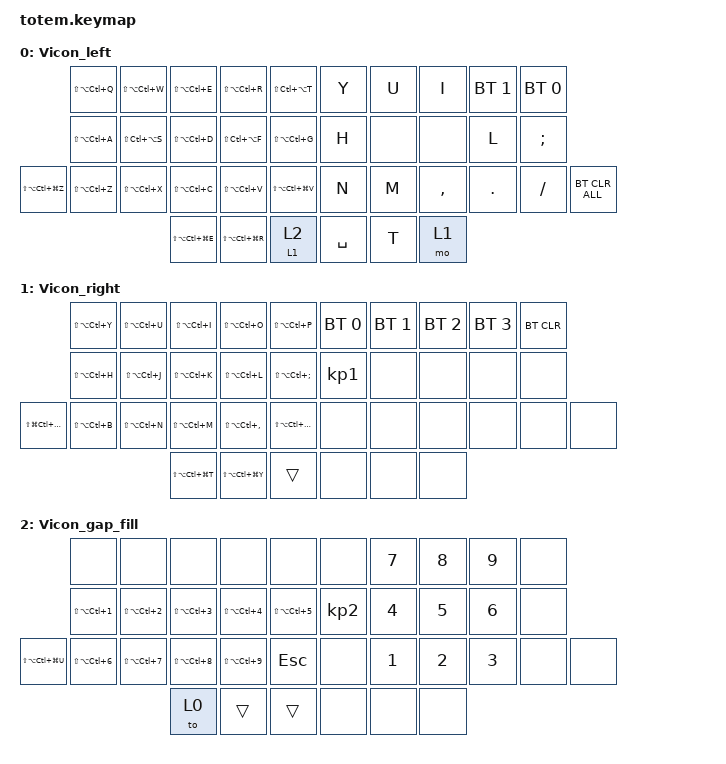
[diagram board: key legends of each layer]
//
//                                                        ▀▀▀▀▀     ▀▀▀▀▀          ▀▀█▀▀
//                                                        ▄▀▀▀▄  ▄  ▄▀▀▀▄  ▄  ▄▀▀▀▄  █  ▄▀▀▀▄
//                                                        █   █  █  █   █  █  █   █  █  █   █
//                                                         ▀▀▀   █   ▀▀▀   █   ▀▀▀   ▀   ▀▀▀
//                                                               █      ▄▄▄█▄▄▄    █   █  
//                                                               ▀      █  █  █     █▄█
//                                                             ▀▀▀▀▀    █  █  █      ▀
//                                                                      ▀  ▀  ▀
//
// ▄▄▄▄▄▄▄▄▄▄▄▄▄▄▄▄▄▄▄▄▄▄▄▄▄▄▄▄▄▄▄▄▄▄▄▄▄▄▄▄▄▄▄▄▄▄▄▄▄▄▄▄▄▄▄▄▄▄▄▄▄▄▄▄▄▄▄▄▄▄▄▄▄▄▄▄▄▄▄▄▄▄▄▄▄▄▄▄▄▄▄▄▄▄▄▄▄▄▄▄▄▄▄▄▄▄▄▄▄▄▄▄▄▄▄▄▄▄▄▄▄▄▄▄▄▄▄▄▄▄▄▄▄▄▄▄▄▄▄▄▄▄▄▄▄▄▄▄▄

#include "zmk-helpers/helper.h"

#define HM_TAPPING_TERM 280
#define HM_TAPPING_TERM_FAST 175
#define HM_PRIOR_IDLE 150
#define COMBO_TERM_FAST 35
#define COMBO_TERM_SLOW 40
#define COMBO_PRIOR_IDLE 100
#define BASE 0
#define NUMS 1
#define DANGER 2

/* use helper macros to define left and right hand keys */

#include "zmk-helpers/key-labels/totem.h"                                   // key-position labels
#include <behaviors.dtsi>
#include <dt-bindings/zmk/bt.h>
#include <dt-bindings/zmk/keys.h>

#define KEYS_L LT0 LT1 LT2 LT3 LT4 LM0 LM1 LM2 LM3 LM4 LB0 LB1 LB2 LB3 LB4  // left-hand keys
#define KEYS_R RT0 RT1 RT2 RT3 RT4 RM0 RM1 RM2 RM3 RM4 RB0 RB1 RB2 RB3 RB4  // right-hand keys
#define KEYS_T LH2 LH1 LH0 RH0 RH1 RH2                                      // thumb keys

/ {
    behaviors {
        // Positional Homerow mods
        // Homerow mods that prevent accidental activations when rolling keys,
        // such as when typing `st` or `ne` on colemak-dh layouts or `as` on
        // qwerty.
        //
        // Works by only allowing a mod to activate within tapping-term if
        // it's on the opposite side of the keyboard or on the same side thumb
        // keys.
        // Further optimization using urob's timerless homerow mods method:
        // https://github.com/urob/zmk-config#timeless-homerow-mods

        label_fill_toggle: label_fill_toggle {
            compatible = "zmk,behavior-tap-dance";
            label = "LABEL_FILL_TOGGLE";
            #binding-cells = <0>;
            bindings = <&kp TAB>, <&kp LEFT_SHIFT>;
        };

        capts_ctrl: capts_ctrl {
            compatible = "zmk,behavior-tap-dance";
            label = "CAPTS_CTRL";
            #binding-cells = <0>;
            bindings = <&kp CAPSLOCK>, <&kp LCTRL>;
        };

        layer_1_or_2: layer_1_or_2 {
            compatible = "zmk,behavior-hold-tap";
            label = "LAYER_1_OR_2";
            bindings = <&mo>, <&tog>;

            #binding-cells = <2>;
            tapping-term-ms = <100>;
        };
    };

    combos {
        compatible = "zmk,combos";

        escape {
            timeout-ms = <COMBO_TERM_FAST>;
            require-prior-idle-ms = <COMBO_PRIOR_IDLE>;
            bindings = <&kp ESCAPE>;
            key-positions = <27 28>;
        };

        tab {
            timeout-ms = <COMBO_TERM_FAST>;
            require-prior-idle-ms = <COMBO_PRIOR_IDLE>;
            bindings = <&kp TAB>;
            key-positions = <28 29>;
        };

        grave {
            timeout-ms = <COMBO_TERM_FAST>;
            require-prior-idle-ms = <COMBO_PRIOR_IDLE>;
            bindings = <&kp GRAVE>;
            key-positions = <29 30>;
        };

        escapeleft {
            timeout-ms = <COMBO_TERM_FAST>;
            require-prior-idle-ms = <COMBO_PRIOR_IDLE>;
            bindings = <&kp ESCAPE>;
            key-positions = <1 0>;
        };

        undo {
            timeout-ms = <COMBO_TERM_FAST>;
            require-prior-idle-ms = <COMBO_PRIOR_IDLE>;
            bindings = <&kp LG(Z)>;
            key-positions = <21 22>;
        };

        quote {
            timeout-ms = <COMBO_TERM_FAST>;
            require-prior-idle-ms = <COMBO_PRIOR_IDLE>;
            bindings = <&kp SINGLE_QUOTE>;
            key-positions = <19 18>;
        };

        cut {
            timeout-ms = <COMBO_TERM_FAST>;
            require-prior-idle-ms = <COMBO_PRIOR_IDLE>;
            bindings = <&kp LG(X)>;
            key-positions = <22 23>;
        };

        copy {
            timeout-ms = <COMBO_TERM_FAST>;
            require-prior-idle-ms = <COMBO_PRIOR_IDLE>;
            bindings = <&kp LG(C)>;
            key-positions = <23 24>;
        };

        paste {
            timeout-ms = <COMBO_TERM_FAST>;
            require-prior-idle-ms = <COMBO_PRIOR_IDLE>;
            bindings = <&kp LG(V)>;
            key-positions = <24 25>;
        };

        escapecombo {
            timeout-ms = <COMBO_TERM_FAST>;
            require-prior-idle-ms = <COMBO_PRIOR_IDLE>;
            bindings = <&kp ESCAPE>;
            key-positions = <14 15>;
        };

        Alfred {
            bindings = <&kp LG(SPACE)>;
            key-positions = <12 14>;
        };
    };

    keymap {
        compatible = "zmk,keymap";

        default_layer {
            display-name = "Vicon_left";
            bindings = <
                       &kp LS(LA(LC(Q)))  &kp LS(LA(LC(W)))  &kp LS(LA(LC(E)))      &kp LS(LA(LC(R)))      &kp LS(LC(LA(T)))        &kp Y      &kp U  &kp I      &bt BT_SEL 1  &bt BT_SEL 0
                       &kp LS(LA(LC(A)))  &kp LS(LC(LA(S)))  &kp LS(LA(LC(D)))      &kp LS(LC(LA(F)))      &kp LS(LA(LC(G)))        &kp H      &none  &none      &kp L         &kp SEMI
&kp LS(LA(LC(LG(Z))))  &kp LS(LA(LC(Z)))  &kp LS(LA(LC(X)))  &kp LS(LA(LC(C)))      &kp LS(LA(LC(V)))      &kp LS(LA(LC(LG(V))))    &kp N      &kp M  &kp COMMA  &kp DOT       &kp SLASH     &bt BT_CLR_ALL
                                                             &kp LS(LA(LC(LG(E))))  &kp LS(LA(LC(LG(R))))  &layer_1_or_2 1 2        &kp SPACE  &kp T  &mo 1
            >;
        };

        lower_layer {
            display-name = "Vicon_right";
            bindings = <
                       &kp LS(LA(LC(Y)))  &kp LS(LA(LC(U)))  &kp LS(LA(LC(I)))      &kp LS(LA(LC(O)))      &kp LS(LA(LC(P)))            &bt BT_SEL 0     &bt BT_SEL 1  &bt BT_SEL 2  &bt BT_SEL 3  &bt BT_CLR
                       &kp LS(LA(LC(H)))  &kp LS(LA(LC(J)))  &kp LS(LA(LC(K)))      &kp LS(LA(LC(L)))      &kp LS(LA(LC(SEMICOLON)))    &kp KP_NUMBER_1  &none         &none         &none         &none
&kp LS(LG(LC(LA(W))))  &kp LS(LA(LC(B)))  &kp LS(LA(LC(N)))  &kp LS(LA(LC(M)))      &kp LS(LA(LC(COMMA)))  &kp LS(LA(LC(LG(Q))))        &none            &none         &none         &none         &none       &none
                                                             &kp LS(LA(LC(LG(T))))  &kp LS(LA(LC(LG(Y))))  &trans                       &none            &none         &none
            >;
        };

        layer_2 {
            display-name = "Vicon_gap_fill";
            bindings = <
                       &none                     &none                     &none                     &none                     &none                 &none            &kp N7        &kp N8        &kp N9        &none
                       &kp LS(LA(LC(NUMBER_1)))  &kp LS(LA(LC(NUMBER_2)))  &kp LS(LA(LC(NUMBER_3)))  &kp LS(LA(LC(NUMBER_4)))  &kp LS(LA(LC(N5)))    &kp KP_NUMBER_2  &kp NUMBER_4  &kp N5        &kp NUMBER_6  &none
&kp LS(LA(LC(LG(U))))  &kp LS(LA(LC(NUMBER_6)))  &kp LS(LA(LC(N7)))        &kp LS(LA(LC(N8)))        &kp LS(LA(LC(N9)))        &kp ESCAPE            &none            &kp NUMBER_1  &kp NUMBER_2  &kp NUMBER_3  &none  &none
                                                                           &to 0                     &trans                    &trans                &none            &none         &none
            >;
        };
    };
};
